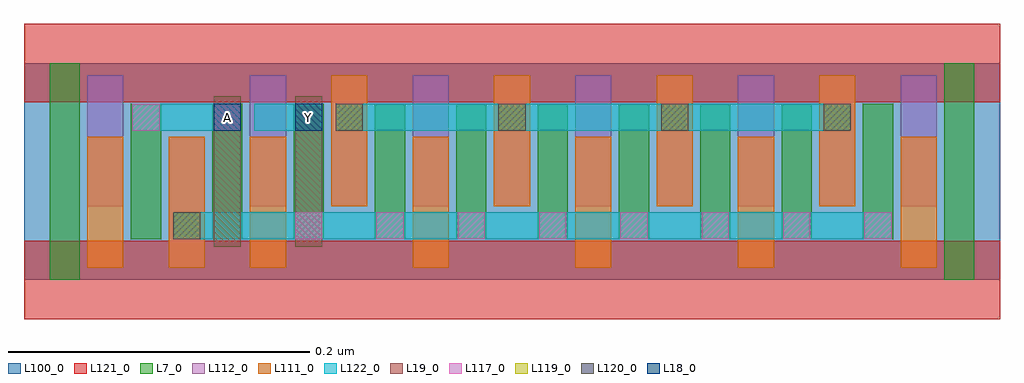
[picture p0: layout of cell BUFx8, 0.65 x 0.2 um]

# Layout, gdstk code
import gdstk
lib = gdstk.Library(unit=1e-6, precision=2.5e-10)
def R(c, l, rs):  # rectangles x0, y0, x1, y1
    for r in rs: c.add(gdstk.rectangle(r[:2], r[2:], *l))
def A(c, l, x, y, w, h, nx, ny, dx, dy):  # array of equal rectangles
    R(c, l, [(x+i*dx, y+j*dy, x+i*dx+w, y+j*dy+h) for i in range(nx) for j in range(ny)])
L7_0 = (7, 0)
L18_0 = (18, 0)
L19_0 = (19, 0)
L100_0 = (100, 0)
L111_0 = (111, 0)
L112_0 = (112, 0)
L117_0 = (117, 0)
L119_0 = (119, 0)
L120_0 = (120, 0)
L121_0 = (121, 0)
L122_0 = (122, 0)

bufx8 = lib.new_cell('BUFx8')
A(bufx8, L7_0, 0.071, 0.027, 0.02, 0.09, 10, 1, 0.054, 0)
R(bufx8, L7_0, [(0.017,0,0.037,0.144), (0.611,0,0.631,0.144)])
R(bufx8, L18_0, [(0.126,0.099,0.144,0.117), (0.18,0.099,0.198,0.117)])
R(bufx8, L19_0, [(0.126,0.022,0.144,0.122), (0.18,0.022,0.198,0.122)])
R(bufx8, L100_0, [(0,0,0.648,0.144)])
A(bufx8, L111_0, 0.042, 0.008, 0.024, 0.087, 3, 1, 0.054, 0)
A(bufx8, L111_0, 0.258, 0.008, 0.024, 0.087, 4, 1, 0.108, 0)
A(bufx8, L111_0, 0.204, 0.049, 0.024, 0.087, 4, 1, 0.108, 0)
A(bufx8, L112_0, 0.15, 0.049, 0.024, 0.087, 9, 1, 0.054, 0)
R(bufx8, L112_0, [(0.096,0.008,0.12,0.095), (0.042,0.049,0.066,0.136)])
A(bufx8, L117_0, 0.18, 0.027, 0.018, 0.018, 8, 1, 0.054, 0)
R(bufx8, L117_0, [(0.072,0.099,0.09,0.117), (0.126,0.099,0.144,0.117)])
A(bufx8, L119_0, 0.207, 0.099, 0.018, 0.018, 4, 1, 0.108, 0)
R(bufx8, L119_0, [(0.099,0.027,0.117,0.045)])
A(bufx8, L120_0, 0.207, 0.099, 0.018, 0.018, 4, 1, 0.108, 0)
R(bufx8, L120_0, [(0.099,0.027,0.117,0.045)])
R(bufx8, L121_0, [(0,-0.026,0.648,0.026), (0,0.118,0.648,0.17)])
R(bufx8, L122_0, [(0.099,0.027,0.576,0.045), (0.072,0.099,0.144,0.117), (0.153,0.099,0.198,0.117), (0.207,0.099,0.549,0.117)])
bufx8.add(gdstk.Label('Y', (0.189,0.108), layer=19, texttype=251))
bufx8.add(gdstk.Label('A', (0.135,0.108), layer=19, texttype=251))

lib.write_gds('BUFx8.gds')
